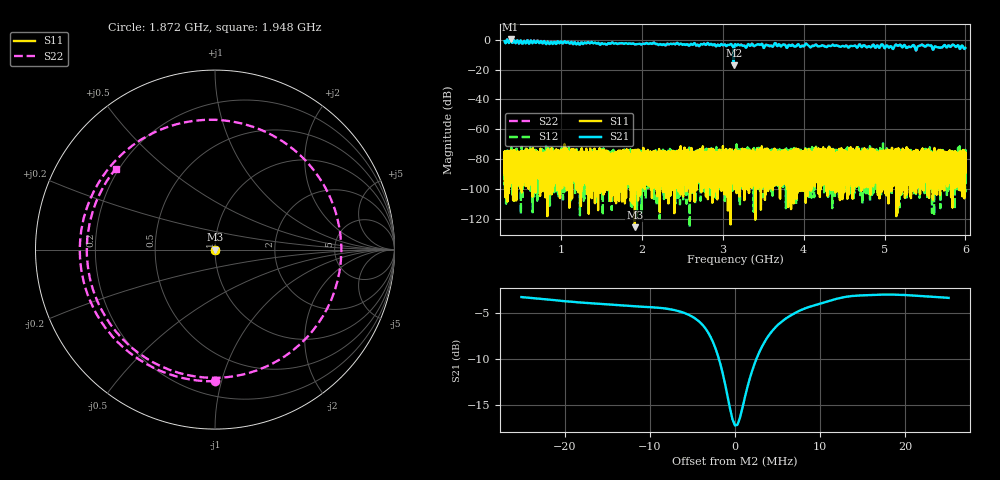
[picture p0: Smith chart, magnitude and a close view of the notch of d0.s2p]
!Agilent Technologies,N5230C,SG49000117,A.08.50.07
!Agilent N5230C: A.08.50.07
!Date: Monday, March 18, 2024 18:51:57
!Correction: S11(Off)
!S21(Off)
!S12(Off)
!S22(Off)
!S2P File: Measurements: S11, S21, S12, S22:
# Hz S  RI  R 50
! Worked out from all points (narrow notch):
!   20001 points, 300 MHz to 6 GHz, reference 50 ohm
!   highest |S21| = 0.46 dB at 374.1 MHz (marker M1); lowest = -17.2 dB at 3.134 GHz (marker M2)
!   notch at M2: 13.8 dB deep, 4.19 MHz wide at half that depth
!   lowest |S11| = -126.0 dB at 1.911 GHz (marker M3), VSWR 1.00, Z = 50 + j4.79e-05 ohm
!   |S11| at or under -10 dB: start of sweep to end of sweep
!   |S22| runs from -17.2 to 0.5 dB; largest |S21 - S12| = 1.1
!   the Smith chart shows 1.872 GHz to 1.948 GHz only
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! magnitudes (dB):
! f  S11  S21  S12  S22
! 300 MHz  -82.0  -0.9  -79.0  -0.9
! 374.1 MHz  -90.3  0.5  -75.2  0.5
! 1.25 GHz  -85.2  -1.7  -85.9  -1.7
! 1.911 GHz  -126.0  -3.0  -76.8  -3.0
! 2.2 GHz  -82.6  -3.4  -90.6  -3.4
! 3.085 GHz  -86.1  -3.3  -92.3  -3.3
! 3.134 GHz  -78.5  -17.2  -89.1  -17.2
! 3.15 GHz  -91.0  -3.0  -84.5  -3.0
! 3.173 GHz  -80.8  -3.7  -79.6  -3.7
! 3.272 GHz  -73.4  -4.3  -84.3  -4.2
! 3.458 GHz  -83.9  -3.5  -80.3  -3.4
! 3.978 GHz  -84.9  -4.0  -87.1  -3.9
! 4.037 GHz  -91.9  -2.9  -83.9  -2.8
! 4.1 GHz  -82.9  -4.3  -83.6  -4.2
! 5.05 GHz  -79.2  -5.1  -83.0  -5.0
! 5.168 GHz  -79.1  -4.0  -80.2  -4.0
! 5.398 GHz  -79.1  -6.1  -85.4  -6.1
! 5.446 GHz  -78.2  -3.7  -80.4  -3.7
! 5.55 GHz  -75.2  -3.8  -80.6  -3.8
! 5.616 GHz  -84.9  -4.9  -82.6  -4.9
! 5.848 GHz  -82.5  -3.3  -81.0  -3.3
! 6 GHz  -83.0  -5.5  -87.6  -5.5
